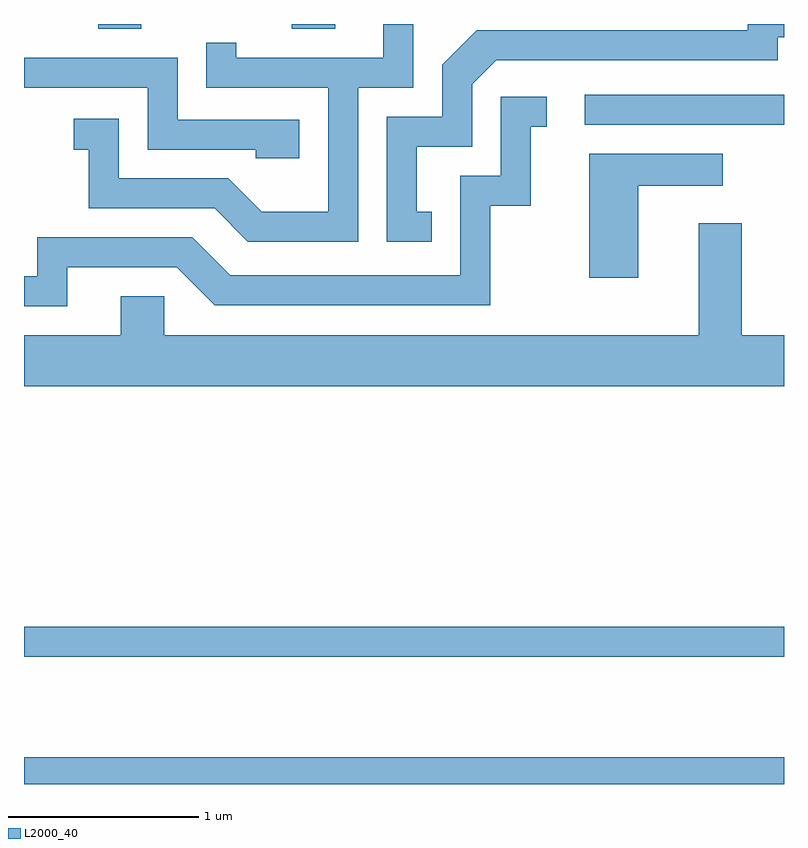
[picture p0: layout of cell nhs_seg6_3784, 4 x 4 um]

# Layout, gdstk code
import gdstk
lib = gdstk.Library(unit=1e-6, precision=1e-09)
def R(c, l, rs):  # rectangles x0, y0, x1, y1
    for r in rs: c.add(gdstk.rectangle(r[:2], r[2:], *l))
def P(c, l, *ps):  # polygons
    for p in ps: c.add(gdstk.Polygon(p, *l))
L2000_40 = (2000, 40)

nhs_seg6_3784 = lib.new_cell('nhs_seg6_3784')
R(nhs_seg6_3784, L2000_40, [(299.611,1550.162,303.611,1550.304), (299.611,1550.831,303.611,1550.989), (302.563,1553.631,303.611,1553.789), (300.001,1554.136,300.229,1554.162), (301.021,1554.136,301.249,1554.162)])
P(nhs_seg6_3784, L2000_40, [(301.369,1553.826),(301.659,1553.826),(301.659,1554.162),(301.501,1554.162),(301.501,1553.984),(300.729,1553.984),(300.729,1554.063),(300.571,1554.063),(300.571,1553.826),(301.211,1553.826),(301.211,1553.174),(300.862,1553.174),(300.687,1553.349),(300.109,1553.349),(300.109,1553.664),(299.873,1553.664),(299.873,1553.501),(299.951,1553.501),(299.951,1553.191),(300.614,1553.191),(300.789,1553.016),(301.369,1553.016)],
  [(301.758,1553.174),(301.679,1553.174),(301.679,1553.516),(301.969,1553.516),(301.969,1553.844),(302.097,1553.971),(303.579,1553.971),(303.579,1554.091),(303.611,1554.091),(303.611,1554.162),(303.421,1554.162),(303.421,1554.129),(301.994,1554.129),(301.811,1553.947),(301.811,1553.674),(301.521,1553.674),(301.521,1553.016),(301.758,1553.016)],
  [(301.059,1553.659),(300.419,1553.659),(300.419,1553.984),(299.611,1553.984),(299.611,1553.826),(300.261,1553.826),(300.261,1553.501),(300.831,1553.501),(300.831,1553.456),(301.059,1553.456)],
  [(299.839,1552.881),(300.414,1552.881),(300.614,1552.681),(302.064,1552.681),(302.064,1553.206),(302.279,1553.206),(302.279,1553.621),(302.363,1553.621),(302.363,1553.779),(302.121,1553.779),(302.121,1553.364),(301.906,1553.364),(301.906,1552.839),(300.697,1552.839),(300.497,1553.039),(299.681,1553.039),(299.681,1552.834),(299.611,1552.834),(299.611,1552.676),(299.839,1552.676)],
  [(302.844,1553.311),(303.288,1553.311),(303.288,1553.479),(302.586,1553.479),(302.586,1552.826),(302.844,1552.826)],
  [(303.611,1552.524),(303.389,1552.524),(303.389,1553.114),(303.161,1553.114),(303.161,1552.524),(300.349,1552.524),(300.349,1552.729),(300.121,1552.729),(300.121,1552.524),(299.611,1552.524),(299.611,1552.256),(303.611,1552.256)])

lib.write_gds('nhs_seg6_3784.gds')
